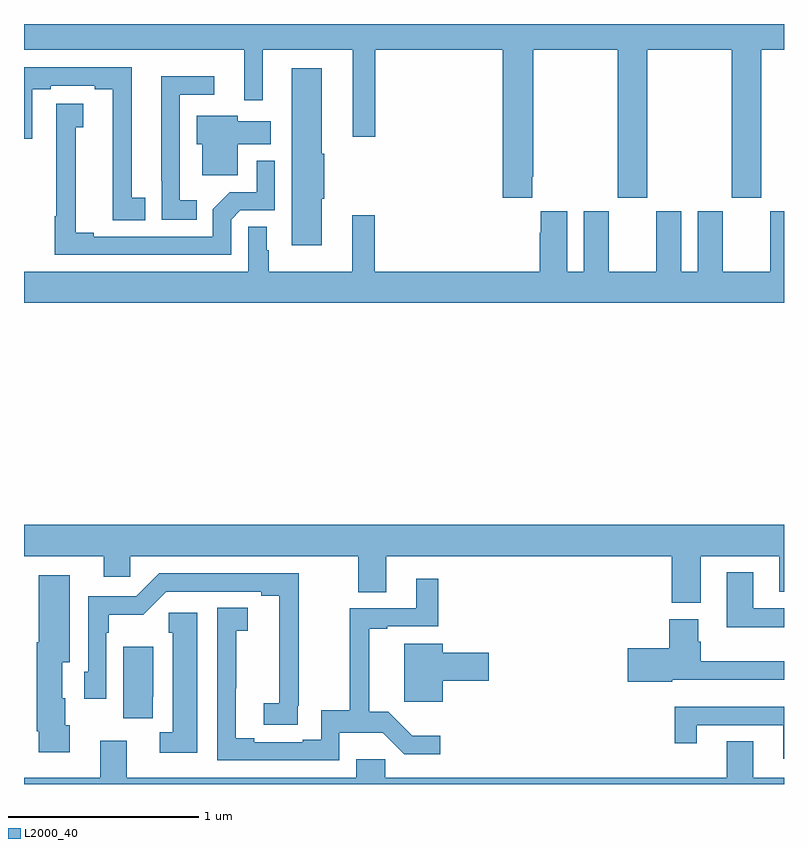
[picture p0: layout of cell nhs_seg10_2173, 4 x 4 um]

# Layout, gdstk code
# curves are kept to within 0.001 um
import gdstk
lib = gdstk.Library(unit=1e-6, precision=1e-09)
def P(c, l, *ps):  # polygons
    for p in ps: c.add(gdstk.Polygon(p, *l))
L2000_40 = (2000, 40)

nhs_seg10_2173 = lib.new_cell('nhs_seg10_2173')
P(nhs_seg10_2173, L2000_40, [(227,1252.364),(228.158,1252.364),(228.158,1252.098),(228.256,1252.098),(228.256,1252.364),(228.731,1252.364),(228.731,1251.906),(228.848,1251.906),(228.848,1252.364),(229.52,1252.364),(229.52,1251.585),(229.675,1251.585),(229.675,1251.697),(229.68,1251.697),(229.68,1252.364),(230.125,1252.364),(230.125,1251.585),(230.28,1251.585),(230.28,1252.364),(230.725,1252.364),(230.725,1251.585),(230.88,1251.585),(230.88,1252.364),(231,1252.364),(231,1252.5),(227,1252.5)],
  [(227.639,1251.585),(227.566,1251.585),(227.566,1252.272),(227,1252.272),(227,1251.895),(227.043,1251.895),(227.043,1252.156),(227.14,1252.156),(227.14,1252.176),(227.372,1252.176),(227.372,1252.156),(227.468,1252.156),(227.468,1251.466),(227.639,1251.466)],
  [(228.568,1251.58),(228.581,1251.58),(228.581,1251.818),(228.568,1251.818),(228.568,1252.267),(228.41,1252.267),(228.41,1251.336),(228.568,1251.336)],
  [(227.909,1251.572),(227.82,1251.572),(227.82,1252.128),(228.001,1252.128),(228.001,1252.225),(227.723,1252.225),(227.723,1251.674),(227.724,1251.674),(227.724,1251.471),(227.909,1251.471)],
  [(228.09,1251.471),(228.138,1251.519),(228.321,1251.519),(228.321,1251.781),(228.225,1251.781),(228.225,1251.615),(228.084,1251.615),(227.994,1251.525),(227.994,1251.381),(227.368,1251.381),(227.368,1251.401),(227.272,1251.401),(227.272,1251.956),(227.311,1251.956),(227.311,1252.081),(227.171,1252.081),(227.171,1251.488),(227.161,1251.488),(227.161,1251.285),(228.09,1251.285)],
  [(228.124,1251.866),(228.298,1251.866),(228.298,1251.988),(228.124,1251.988),(228.124,1252.018),(227.909,1252.018),(227.909,1251.866),(227.939,1251.866),(227.939,1251.704),(228.124,1251.704)],
  [(230.546,1251.514),(230.546,1251.196),(230.458,1251.196),(230.458,1251.514),(230.327,1251.514),(230.327,1251.196),(230.077,1251.196),(230.077,1251.514),(229.946,1251.514),(229.946,1251.196),(229.858,1251.196),(229.858,1251.514),(229.721,1251.514),(229.721,1251.401),(229.715,1251.401),(229.715,1251.196),(228.845,1251.196),(228.845,1251.493),(228.728,1251.493),(228.728,1251.196),(228.289,1251.196),(228.289,1251.309),(228.277,1251.309),(228.277,1251.434),(228.18,1251.434),(228.18,1251.196),(227,1251.196),(227,1251.032),(231,1251.032),(231,1251.514),(230.927,1251.514),(230.927,1251.196),(230.677,1251.196),(230.677,1251.514)],
  [(227,1249.7),(227.42,1249.7),(227.42,1249.59),(227.559,1249.59),(227.559,1249.7),(228.76,1249.7),(228.76,1249.51),(228.907,1249.51),(228.907,1249.7),(230.408,1249.7),(230.408,1249.453),(230.563,1249.453),(230.563,1249.7),(230.975,1249.7),(230.975,1249.511),(231,1249.511),(231,1249.864),(227,1249.864)],
  [(231,1249.426),(230.839,1249.426),(230.839,1249.615),(230.699,1249.615),(230.699,1249.325),(231,1249.325)],
  [(228.44,1248.913),(228.446,1248.913),(228.446,1249.608),(227.712,1249.608),(227.592,1249.488),(227.337,1249.488),(227.337,1249.092),(227.316,1249.092),(227.316,1248.948),(227.433,1248.948),(227.433,1249.295),(227.446,1249.295),(227.446,1249.391),(227.627,1249.391),(227.748,1249.512),(228.248,1249.512),(228.248,1249.492),(228.344,1249.492),(228.343,1248.926),(228.261,1248.926),(228.261,1248.811),(228.44,1248.811)],
  [(227.242,1248.81),(227.218,1248.81),(227.218,1248.951),(227.2,1248.951),(227.2,1249.142),(227.242,1249.142),(227.242,1249.6),(227.078,1249.6),(227.078,1249.246),(227.066,1249.246),(227.066,1248.778),(227.078,1248.778),(227.078,1248.666),(227.242,1248.666)],
  [(228.66,1248.77),(228.889,1248.77),(229.002,1248.657),(229.192,1248.657),(229.192,1248.754),(229.043,1248.754),(228.917,1248.88),(228.818,1248.88),(228.818,1249.317),(228.913,1249.317),(228.913,1249.329),(229.181,1249.329),(229.181,1249.579),(229.064,1249.579),(229.064,1249.425),(228.715,1249.425),(228.715,1248.887),(228.564,1248.887),(228.564,1248.734),(228.467,1248.734),(228.467,1248.72),(228.211,1248.72),(228.211,1248.74),(228.115,1248.74),(228.115,1249.003),(228.117,1249.003),(228.117,1249.307),(228.178,1249.307),(228.178,1249.427),(228.018,1249.427),(228.018,1248.624),(228.66,1248.624)],
  [(227.911,1249.402),(227.761,1249.402),(227.761,1249.296),(227.783,1249.296),(227.783,1248.773),(227.715,1248.773),(227.715,1248.665),(227.911,1248.665)],
  [(230.412,1249.049),(231,1249.049),(231,1249.147),(230.561,1249.147),(230.561,1249.25),(230.548,1249.25),(230.548,1249.368),(230.396,1249.368),(230.396,1249.215),(230.178,1249.215),(230.178,1249.037),(230.412,1249.037)],
  [(229.204,1249.043),(229.447,1249.043),(229.447,1249.19),(229.204,1249.19),(229.204,1249.237),(229.001,1249.237),(229.001,1248.932),(229.204,1248.932)],
  [(227.678,1248.958),(227.68,1248.958),(227.68,1249.222),(227.522,1249.222),(227.522,1248.846),(227.678,1248.846)],
  [(231,1248.907),(230.425,1248.907),(230.425,1248.714),(230.542,1248.714),(230.542,1248.81),(230.996,1248.81),(230.996,1248.633),(231,1248.633)],
  [(231,1248.532),(230.839,1248.532),(230.839,1248.725),(230.699,1248.725),(230.699,1248.532),(228.901,1248.532),(228.901,1248.63),(228.749,1248.63),(228.749,1248.532),(227.542,1248.532),(227.542,1248.727),(227.402,1248.727),(227.402,1248.532),(227,1248.532),(227,1248.5),(231,1248.5)])

lib.write_gds('nhs_seg10_2173.gds')
